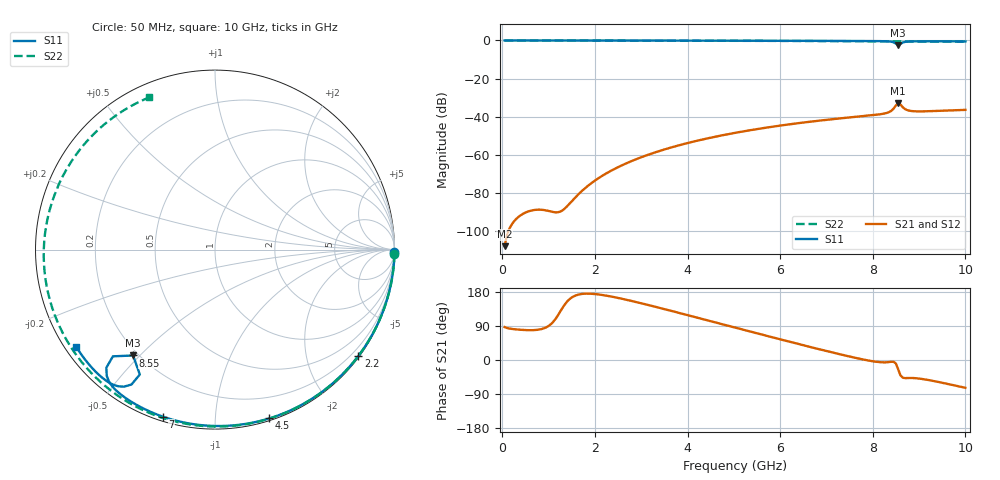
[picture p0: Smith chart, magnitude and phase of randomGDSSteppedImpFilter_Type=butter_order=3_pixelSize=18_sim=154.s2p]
! freq	dB(S11)	phase(S11)	dB(S12)	phase(S12)
!  dB(S21)	phase(S21)	dB(S22)	phase(S22)
!S-par simulation data
#  GHz  S  DB  R 50
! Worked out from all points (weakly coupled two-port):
!   200 points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, 50 MHz to 10 GHz, reference 50 ohm
!   highest |S21| = -32.78 dB at 8.55 GHz (marker M1); lowest = -108.0 dB at 50 MHz (marker M2)
!   lowest |S11| = -2.5 dB at 8.55 GHz (marker M3), VSWR 6.86, Z = 8.99 - j23.9 ohm
!   |S11| at or under -10 dB: nowhere
!   |S22| runs from -0.7 to 0.0 dB; largest |S21 - S12| = 0
!   S11 on the Smith chart (normalised r, x): 50 MHz: open; 2.2 GHz: 0.03, -3.03; 4.5 GHz: 0.02, -1.37; 7 GHz: 0.02, -0.73; 8.55 GHz: 0.18, -0.48; 10 GHz: 0.03, -0.31
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0.05  -0.00 -0.8  -107.97 86.9  -107.97 86.9  -0.00 -1.2
0.8  -0.02 -13.5  -88.81 80.4  -88.81 80.4  -0.02 -19.9
1.65  -0.03 -27.6  -80.58 172.8  -80.58 172.8  -0.05 -40.5
1.75  -0.04 -29.2  -78.33 174.7  -78.33 174.7  -0.05 -42.9
2.2  -0.05 -36.5  -70.43 170.8  -70.43 170.8  -0.07 -53.6
2.75  -0.06 -45.3  -63.73 157.0  -63.73 157.0  -0.08 -66.4
3.4  -0.07 -55.5  -57.97 137.5  -57.97 137.5  -0.11 -81.2
4.5  -0.10 -72.1  -51.03 102.4  -51.03 102.4  -0.15 -105.7
5.05  -0.12 -80.1  -48.39 84.8  -48.39 84.8  -0.18 -117.8
5.85  -0.16 -91.5  -45.21 59.3  -45.21 59.3  -0.23 -135.5
6.7  -0.20 -103.3  -42.49 32.8  -42.49 32.8  -0.30 -154.7
7  -0.22 -107.4  -41.66 23.7  -41.66 23.7  -0.33 -161.7
7.7  -0.27 -117.2  -39.93 3.7  -39.93 3.7  -0.40 -178.8
8.35  -0.52 -128.9  -37.62 -5.5  -37.62 -5.5  -0.48 164.1
8.45  -0.97 -132.6  -35.79 -4.7  -35.79 -4.7  -0.50 161.4
8.5  -1.69 -133.7  -34.06 -9.4  -34.06 -9.4  -0.50 160.0
8.55  -2.55 -127.7  -32.78 -24.9  -32.78 -24.9  -0.51 158.6
8.6  -1.81 -121.1  -33.65 -41.0  -33.65 -41.0  -0.51 157.2
8.7  -0.75 -123.6  -36.08 -47.8  -36.08 -47.8  -0.52 154.4
8.95  -0.45 -129.8  -37.22 -48.3  -37.22 -48.3  -0.55 147.0
9.45  -0.45 -137.6  -36.92 -58.8  -36.92 -58.8  -0.62 131.6
10  -0.50 -145.1  -36.43 -73.4  -36.43 -73.4  -0.69 113.3
